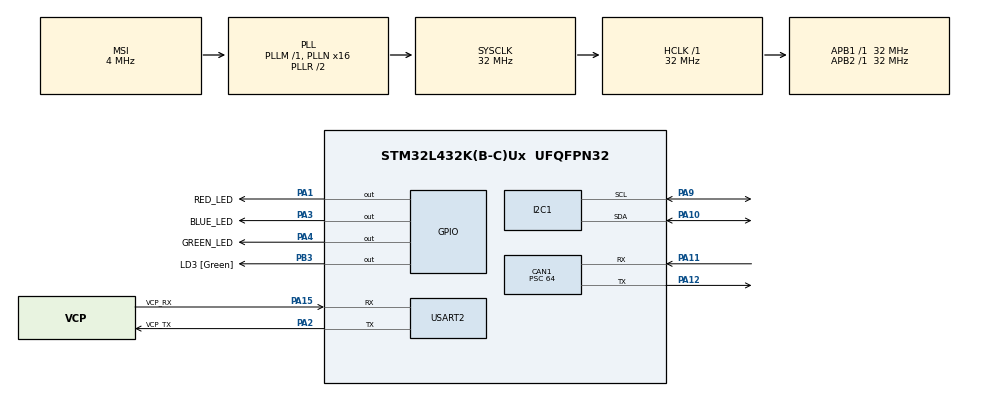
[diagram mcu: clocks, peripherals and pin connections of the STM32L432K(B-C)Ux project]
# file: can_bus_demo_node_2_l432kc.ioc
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CAN1.BS1=CAN_BS1_2TQ
CAN1.BS2=CAN_BS2_2TQ
CAN1.CalculateBaudRate=100000
CAN1.CalculateTimeBit=10000
CAN1.CalculateTimeQuantum=2000.0
CAN1.NART=ENABLE
CAN1.Prescaler=64
I2C1.Timing=0x00707CBB
Mcu.Family=STM32L4
Mcu.Name=STM32L432K(B-C)Ux
Mcu.Package=UFQFPN32
NVIC.CAN1_RX0_IRQn=true\:0\:0\:false\:false\:true\:true\:true\:true
NVIC.CAN1_RX1_IRQn=true\:0\:0\:false\:false\:true\:true\:true\:true
NVIC.PriorityGroup=NVIC_PRIORITYGROUP_4
PA0.GPIO_Label=MCO [High speed clock in]
PA0.Mode=HSE-External-Clock-Source-for-LittleOrca
PA0.Signal=RCC_CK_IN
PA1.GPIO_Label=RED_LED
PA1.Signal=GPIO_Output
PA10.Mode=I2C
PA10.Signal=I2C1_SDA
PA11.Mode=CAN_Activate
PA11.Signal=CAN1_RX
PA12.Mode=CAN_Activate
PA12.Signal=CAN1_TX
PA13\ (JTMS-SWDIO).GPIO_Label=SWDIO
PA13\ (JTMS-SWDIO).Mode=Serial_Wire
PA13\ (JTMS-SWDIO).Signal=SYS_JTMS-SWDIO
PA14\ (JTCK-SWCLK).GPIO_Label=SWCLK
PA14\ (JTCK-SWCLK).Mode=Serial_Wire
PA14\ (JTCK-SWCLK).Signal=SYS_JTCK-SWCLK
PA15\ (JTDI).GPIO_Label=VCP_RX
PA15\ (JTDI).Mode=Asynchronous
PA15\ (JTDI).Signal=USART2_RX
PA2.GPIO_Label=VCP_TX
PA2.Mode=Asynchronous
PA2.Signal=USART2_TX
PA3.GPIO_Label=BLUE_LED
PA3.Signal=GPIO_Output
PA4.GPIO_Label=GREEN_LED
PA4.Signal=GPIO_Output
PA9.Mode=I2C
PA9.Signal=I2C1_SCL
PB3\ (JTDO-TRACESWO).GPIO_Label=LD3 [Green]
PB3\ (JTDO-TRACESWO).Signal=GPIO_Output
PC14-OSC32_IN\ (PC14).Mode=LSE-External-Oscillator
PC14-OSC32_IN\ (PC14).Signal=RCC_OSC32_IN
PC15-OSC32_OUT\ (PC15).Mode=LSE-External-Oscillator
PC15-OSC32_OUT\ (PC15).Signal=RCC_OSC32_OUT
ProjectManager.HeapSize=0x200
ProjectManager.StackSize=0x400
ProjectManager.TargetToolchain=STM32CubeIDE
RCC.AHBFreq_Value=32000000
RCC.APB1Freq_Value=32000000
RCC.APB1TimFreq_Value=32000000
RCC.APB2Freq_Value=32000000
RCC.APB2TimFreq_Value=32000000
RCC.CortexFreq_Value=32000000
RCC.HCLKFreq_Value=32000000
RCC.HSE_VALUE=8000000
RCC.HSI16_VALUE=16000000
RCC.HSI48_VALUE=48000000
RCC.HSI_VALUE=16000000
RCC.MSI_VALUE=4000000
RCC.PLLMUL=RCC_PLLMUL_4
RCC.PLLN=16
RCC.SYSCLKFreq_VALUE=32000000
RCC.SYSCLKSource=RCC_SYSCLKSOURCE_PLLCLK
RCC.VCOOutputFreq_Value=64000000
USART2.VirtualMode-Asynchronous=VM_ASYNC
board=NUCLEO-L432KC

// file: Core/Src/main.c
/* USER CODE BEGIN Header */
/**
 ******************************************************************************
 * @file           : main.c
 * @brief          : Main program body
 ******************************************************************************
 * @attention
 *
 * Copyright (c) 2023 STMicroelectronics.
 * All rights reserved.
 *
 * This software is licensed under terms that can be found in the LICENSE file
 * in the root directory of this software component.
 * If no LICENSE file comes with this software, it is provided AS-IS.
 *
 ******************************************************************************
 */
/* USER CODE END Header */
#include "main.h"
#include "can.h"
#include "i2c.h"
#include "usart.h"
#include "gpio.h"

/* USER CODE BEGIN Includes */
#include <stdio.h>
#include <stdlib.h>
#include <string.h>
#include <math.h>
#include "ssd1306.h"
#include "bmp280.h"
/* USER CODE END Includes */

/* USER CODE BEGIN PD */
#define BMP_REFESH_RATE 1000 // ms
#define CAN_TX_TIMEOUT 100 // ms
#define DEADBEEF_REFESH_RATE 500
/* USER CODE END PD */

/* USER CODE BEGIN PV */
char lcd_line[32];

const char *day_of_week[] =
{ "Monday", "Tuesday", "Wednesday", "Thursday", "Friday", "Saturday", "Sunday" };

CAN_RxHeaderTypeDef rxHeader;
uint8_t rxData101[8];
uint8_t canDatacheck101 = 0;
uint8_t rxData102[8];
uint8_t canDatacheck102 = 0;

CAN_TxHeaderTypeDef txHeader;
uint8_t txData[8];
uint32_t txMailbox;
uint16_t txTimeoutCounter;

//
// BMP280
//
BMP280_t Bmp280;
uint32_t SoftTimerBmp;
uint32_t SoftTimerDeadBeef;
float Pressure, Temperature;

typedef union
{
	struct
	{
		uint8_t LessSignificantByte;
		uint8_t MoreSignificantByte;
	};
	uint16_t TwoBytes;
} twoBytes_t;

twoBytes_t PressureRounded;
/* USER CODE END PV */

void SystemClock_Config(void);
/* USER CODE BEGIN PFP */
void SendCanMessage(void);
/* USER CODE END PFP */

int main(void)
{

	/* MCU Configuration--------------------------------------------------------*/

	/* Reset of all peripherals, Initializes the Flash interface and the Systick. */
	HAL_Init();

	/* Configure the system clock */
	SystemClock_Config();

	/* Initialize all configured peripherals */
	MX_GPIO_Init();
	MX_USART2_UART_Init();
	MX_CAN1_Init();
	MX_I2C1_Init();
	/* USER CODE BEGIN 2 */

	BMP280_Init(&Bmp280, &hi2c1, 0x76);

	HAL_CAN_Start(&hcan1);

	txHeader.IDE = CAN_ID_STD;
	txHeader.RTR = CAN_RTR_DATA; // https://www.kvaser.com/can-protocol-tutorial/
	txHeader.TransmitGlobalTime = DISABLE;
	// Activate the notification
	HAL_CAN_ActivateNotification(&hcan1, CAN_IT_RX_FIFO0_MSG_PENDING);
	HAL_CAN_ActivateNotification(&hcan1, CAN_IT_RX_FIFO1_MSG_PENDING);

	ssd1306_Init();
	ssd1306_Fill(Black);
	ssd1306_SetCursor(20, 5);
	ssd1306_WriteString("ufnalski.edu.pl", Font_6x8, White);
	ssd1306_SetCursor(25, 15);
	ssd1306_WriteString("CAN 2.0B demo", Font_6x8, White);
	ssd1306_UpdateScreen();

	HAL_GPIO_WritePin(RED_LED_GPIO_Port, RED_LED_Pin, GPIO_PIN_RESET);

	SoftTimerBmp = HAL_GetTick();
	SoftTimerDeadBeef = HAL_GetTick();

	/* USER CODE END 2 */

	/* Infinite loop */
	/* USER CODE BEGIN WHILE */
	while (1)
	{
		if (1 == canDatacheck101)
		{
			canDatacheck101 = 0;
			ssd1306_SetCursor(2, 35);
			sprintf(lcd_line, "RX FIFO0: %02d:%02d:%02d", rxData101[0],
					rxData101[1], rxData101[2]);
			ssd1306_WriteString(lcd_line, Font_6x8, White);
			ssd1306_UpdateScreen();
		}

		if (1 == canDatacheck102)
		{
			canDatacheck102 = 0;
			ssd1306_SetCursor(2, 45);
			sprintf(lcd_line, "RX FIFO1: %02d.%02d.%04d", rxData102[0],
					rxData102[1], (2000 + rxData102[2]));
			ssd1306_WriteString(lcd_line, Font_6x8, White);
			ssd1306_SetCursor(2, 55);
			sprintf(lcd_line, "RX FIFO1: %s", day_of_week[rxData102[3] - 1]);
			ssd1306_WriteString(lcd_line, Font_6x8, White);
			ssd1306_UpdateScreen();
		}

		if ((HAL_GetTick() - SoftTimerBmp) > BMP_REFESH_RATE)
		{
			SoftTimerBmp = HAL_GetTick();

			if (Bmp280.bmp_i2c->State == HAL_I2C_STATE_READY)
			{
				BMP280_ReadPressureAndTemperature(&Bmp280, &Pressure,
						&Temperature);

				txHeader.DLC = 1;  // data length
				txHeader.StdId = 0x103;  // ID of the message/frame
				txData[0] = (uint8_t) (round(Temperature));  // temperature
				SendCanMessage();

				txHeader.DLC = 2;  // data length
				txHeader.StdId = 0x107;  // ID of the message/frame
				PressureRounded.TwoBytes = (uint16_t) Pressure; // pressure
				txData[0] = PressureRounded.MoreSignificantByte;
				txData[1] = PressureRounded.LessSignificantByte;
				SendCanMessage();
			}
		}

		if ((HAL_GetTick() - SoftTimerDeadBeef) > DEADBEEF_REFESH_RATE)
		{
			SoftTimerDeadBeef = HAL_GetTick();

			txHeader.DLC = 8;  // data length
			txHeader.StdId = 0x104;  // ID of the message/frame
			txData[0] = 0xD;
			txData[1] = 0xE;
			txData[2] = 0xA;
			txData[3] = 0xD;
			txData[4] = 0xB;
			txData[5] = 0xE;
			txData[6] = 0xE;
			txData[7] = 0xF;
			SendCanMessage();
		}
		/* USER CODE END WHILE */

	}
}

void SystemClock_Config(void)
{
	RCC_OscInitTypeDef RCC_OscInitStruct =
	{ 0 };
	RCC_ClkInitTypeDef RCC_ClkInitStruct =
	{ 0 };

	/** Configure the main internal regulator output voltage
	 */
	if (HAL_PWREx_ControlVoltageScaling(PWR_REGULATOR_VOLTAGE_SCALE1) != HAL_OK)
	{
		Error_Handler();
	}

	/** Configure LSE Drive Capability
	 */
	HAL_PWR_EnableBkUpAccess();
	__HAL_RCC_LSEDRIVE_CONFIG(RCC_LSEDRIVE_LOW);

	/** Initializes the RCC Oscillators according to the specified parameters
	 * in the RCC_OscInitTypeDef structure.
	 */
	RCC_OscInitStruct.OscillatorType = RCC_OSCILLATORTYPE_LSE
			| RCC_OSCILLATORTYPE_MSI;
	RCC_OscInitStruct.LSEState = RCC_LSE_ON;
	RCC_OscInitStruct.MSIState = RCC_MSI_ON;
	RCC_OscInitStruct.MSICalibrationValue = 0;
	RCC_OscInitStruct.MSIClockRange = RCC_MSIRANGE_6;
	RCC_OscInitStruct.PLL.PLLState = RCC_PLL_ON;
	RCC_OscInitStruct.PLL.PLLSource = RCC_PLLSOURCE_MSI;
	RCC_OscInitStruct.PLL.PLLM = 1;
	RCC_OscInitStruct.PLL.PLLN = 16;
	RCC_OscInitStruct.PLL.PLLP = RCC_PLLP_DIV7;
	RCC_OscInitStruct.PLL.PLLQ = RCC_PLLQ_DIV2;
	RCC_OscInitStruct.PLL.PLLR = RCC_PLLR_DIV2;
	if (HAL_RCC_OscConfig(&RCC_OscInitStruct) != HAL_OK)
	{
		Error_Handler();
	}

	/** Initializes the CPU, AHB and APB buses clocks
	 */
	RCC_ClkInitStruct.ClockType = RCC_CLOCKTYPE_HCLK | RCC_CLOCKTYPE_SYSCLK
			| RCC_CLOCKTYPE_PCLK1 | RCC_CLOCKTYPE_PCLK2;
	RCC_ClkInitStruct.SYSCLKSource = RCC_SYSCLKSOURCE_PLLCLK;
	RCC_ClkInitStruct.AHBCLKDivider = RCC_SYSCLK_DIV1;
	RCC_ClkInitStruct.APB1CLKDivider = RCC_HCLK_DIV1;
	RCC_ClkInitStruct.APB2CLKDivider = RCC_HCLK_DIV1;

	if (HAL_RCC_ClockConfig(&RCC_ClkInitStruct, FLASH_LATENCY_1) != HAL_OK)
	{
		Error_Handler();
	}

	/** Enable MSI Auto calibration
	 */
	HAL_RCCEx_EnableMSIPLLMode();
}

/* USER CODE BEGIN 4 */
void HAL_CAN_RxFifo0MsgPendingCallback(CAN_HandleTypeDef *hcan)
{
	HAL_CAN_GetRxMessage(hcan, CAN_RX_FIFO0, &rxHeader, rxData101);
	if (rxHeader.DLC == 3)
	{
		canDatacheck101 = 1;
		HAL_GPIO_TogglePin(BLUE_LED_GPIO_Port, BLUE_LED_Pin);
	}
}

void HAL_CAN_RxFifo1MsgPendingCallback(CAN_HandleTypeDef *hcan)
{
	HAL_CAN_GetRxMessage(hcan, CAN_RX_FIFO1, &rxHeader, rxData102);
	if (rxHeader.DLC == 4)
	{
		canDatacheck102 = 1;
		HAL_GPIO_TogglePin(GREEN_LED_GPIO_Port, GREEN_LED_Pin);
	}
}

void SendCanMessage(void)
{
	if (HAL_CAN_AddTxMessage(&hcan1, &txHeader, txData, &txMailbox) != HAL_OK)
	{
		Error_Handler();
	}
	txTimeoutCounter = 0;
	while ((HAL_CAN_IsTxMessagePending(&hcan1, txMailbox))
			&& (txTimeoutCounter < CAN_TX_TIMEOUT))
	{
		//				__NOP();
		txTimeoutCounter++;
		HAL_Delay(1);
	}
	if (txTimeoutCounter == CAN_TX_TIMEOUT)
	{
		Error_Handler();
	}
}
/* USER CODE END 4 */

void Error_Handler(void)
{
	/* USER CODE BEGIN Error_Handler_Debug */
	/* User can add his own implementation to report the HAL error return state */
	__disable_irq();
	HAL_GPIO_WritePin(RED_LED_GPIO_Port, RED_LED_Pin, GPIO_PIN_SET);
	while (1)
	{
	}
	/* USER CODE END Error_Handler_Debug */
}
